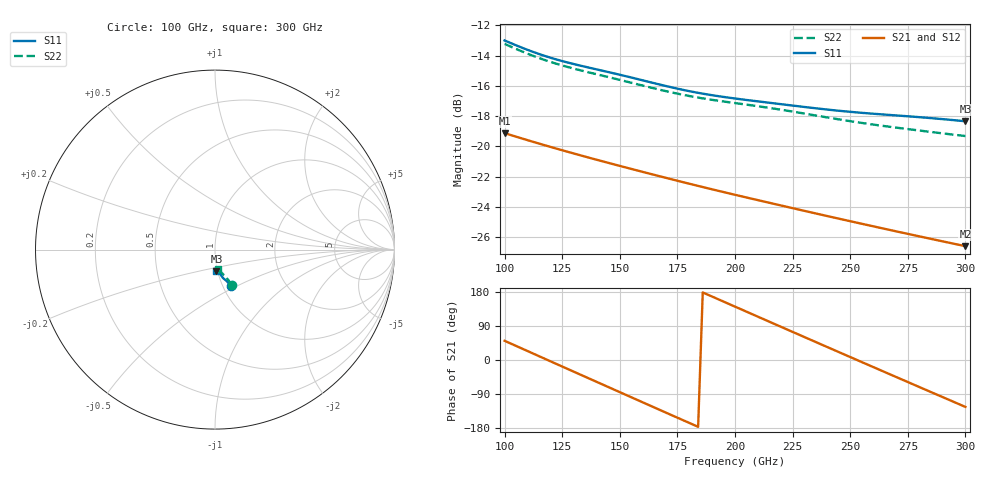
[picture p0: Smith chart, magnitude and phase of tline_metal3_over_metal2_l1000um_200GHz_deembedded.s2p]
! Created with skrf 2.2.0 (http://scikit-rf.org).
# GHz S DB R 50.0
! Port[1] = P1
! Port[2] = P2
!freq dBS11 angS11 dBS21 angS21 dBS12 angS12 dBS22 angS22
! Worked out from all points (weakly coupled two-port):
!   101 points, 100 GHz to 300 GHz, reference 50 ohm
!   highest |S21| = -19.12 dB at 100 GHz (marker M1); lowest = -26.6 dB at 300 GHz (marker M2)
!   lowest |S11| = -18.3 dB at 300 GHz (marker M3), VSWR 1.28, Z = 49.3 - j12.1 ohm
!   |S11| at or under -10 dB: start of sweep to end of sweep
!   |S22| runs from -19.3 to -13.2 dB; largest |S21 - S12| = 1.1e-13
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100  -13.01 -65.9  -19.12 50.7  -19.12 50.7  -13.23 -63.9
108  -13.51 -67.2  -19.49 28.9  -19.49 28.9  -13.76 -65.0
116  -13.95 -68.2  -19.86 7.2  -19.86 7.2  -14.22 -65.7
124  -14.32 -69.0  -20.21 -14.5  -20.21 -14.5  -14.61 -66.3
134  -14.71 -70.2  -20.63 -41.6  -20.63 -41.6  -15.02 -67.1
142  -14.99 -71.3  -20.96 -63.3  -20.96 -63.3  -15.31 -68.0
150  -15.27 -72.5  -21.28 -84.9  -21.28 -84.9  -15.61 -68.9
158  -15.56 -73.7  -21.60 -106.5  -21.60 -106.5  -15.91 -69.8
168  -15.94 -74.9  -21.99 -133.4  -21.99 -133.4  -16.28 -70.7
176  -16.22 -75.6  -22.30 -154.9  -22.30 -154.9  -16.55 -71.2
184  -16.46 -76.1  -22.60 -176.4  -22.60 -176.4  -16.78 -71.7
192  -16.66 -76.6  -22.90 162.2  -22.90 162.2  -16.97 -72.2
200  -16.83 -77.2  -23.19 140.8  -23.19 140.8  -17.14 -72.9
208  -16.99 -77.9  -23.47 119.5  -23.47 119.5  -17.30 -73.8
216  -17.14 -78.6  -23.76 98.1  -23.76 98.1  -17.48 -74.7
224  -17.28 -79.3  -24.04 76.8  -24.04 76.8  -17.67 -75.6
234  -17.46 -80.2  -24.38 50.2  -24.38 50.2  -17.93 -76.7
250  -17.71 -81.5  -24.93 7.8  -24.93 7.8  -18.33 -78.0
258  -17.82 -82.2  -25.20 -13.3  -25.20 -13.3  -18.51 -78.5
268  -17.93 -83.1  -25.54 -39.7  -25.54 -39.7  -18.72 -79.2
284  -18.12 -84.7  -26.06 -81.8  -26.06 -81.8  -19.02 -80.2
300  -18.34 -86.3  -26.58 -123.8  -26.58 -123.8  -19.31 -81.1
